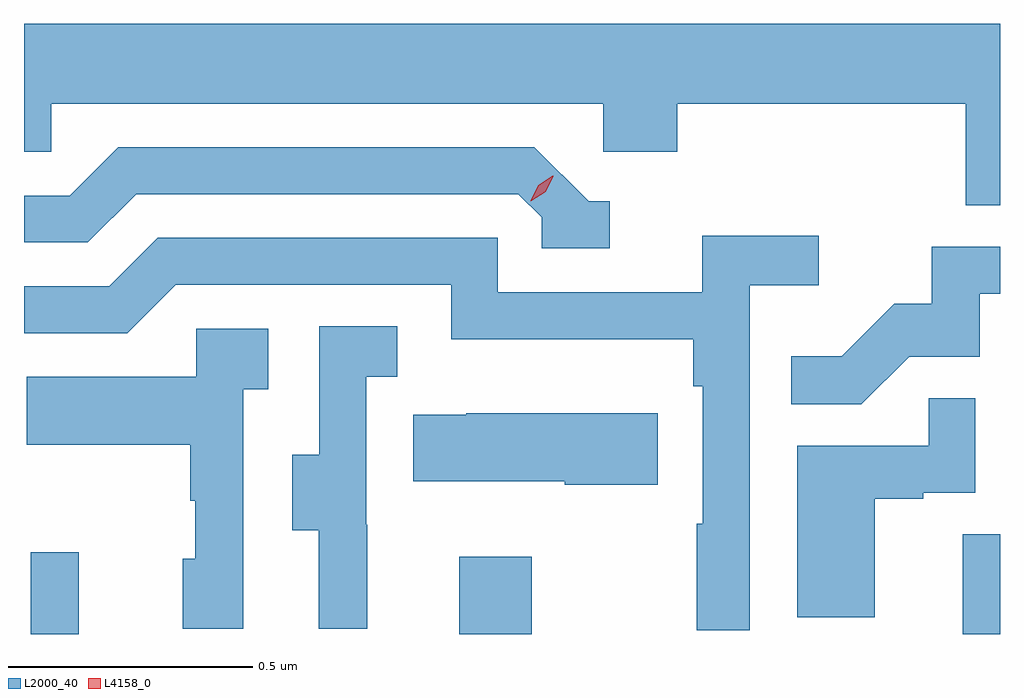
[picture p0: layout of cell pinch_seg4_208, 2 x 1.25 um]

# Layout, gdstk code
import gdstk
lib = gdstk.Library(unit=1e-6, precision=1e-09)
def R(c, l, rs):  # rectangles x0, y0, x1, y1
    for r in rs: c.add(gdstk.rectangle(r[:2], r[2:], *l))
def P(c, l, *ps):  # polygons
    for p in ps: c.add(gdstk.Polygon(p, *l))
L2000_40 = (2000, 40)
L4158_0 = (4158, 0)

pinch_seg4_208 = lib.new_cell('pinch_seg4_208')
R(pinch_seg4_208, L2000_40, [(984.729,822.373,984.827,822.541), (985.607,822.373,985.755,822.532), (986.639,822.373,986.715,822.578)])
P(pinch_seg4_208, L2000_40, [(986.715,823.624),(984.715,823.624),(984.715,823.362),(984.771,823.362),(984.771,823.46),(985.902,823.46),(985.902,823.362),(986.054,823.362),(986.054,823.46),(986.645,823.46),(986.645,823.252),(986.715,823.252)],
  [(985.915,823.26),(985.872,823.26),(985.761,823.371),(984.908,823.371),(984.809,823.272),(984.715,823.272),(984.715,823.176),(984.846,823.176),(984.945,823.275),(985.728,823.275),(985.776,823.227),(985.776,823.164),(985.915,823.164)],
  [(986.202,823.088),(986.344,823.088),(986.344,823.19),(986.105,823.19),(986.105,823.074),(985.686,823.074),(985.686,823.185),(984.989,823.185),(984.89,823.086),(984.715,823.086),(984.715,822.99),(984.927,822.99),(985.026,823.089),(985.59,823.089),(985.59,822.977),(986.086,822.977),(986.086,822.881),(986.106,822.881),(986.106,822.599),(986.094,822.599),(986.094,822.381),(986.202,822.381)],
  [(986.529,822.942),(986.673,822.942),(986.673,823.071),(986.715,823.071),(986.715,823.167),(986.575,823.167),(986.575,823.05),(986.498,823.05),(986.391,822.943),(986.287,822.943),(986.287,822.844),(986.431,822.844)],
  [(985.418,822.597),(985.416,822.597),(985.416,822.901),(985.48,822.901),(985.48,823.004),(985.32,823.004),(985.32,822.741),(985.265,822.741),(985.265,822.586),(985.319,822.586),(985.319,822.384),(985.418,822.384)],
  [(985.164,822.875),(985.216,822.875),(985.216,822.999),(985.068,822.999),(985.068,822.901),(984.721,822.901),(984.721,822.761),(985.056,822.761),(985.056,822.647),(985.066,822.647),(985.066,822.528),(985.04,822.528),(985.04,822.384),(985.164,822.384)],
  [(986.458,822.651),(986.558,822.651),(986.558,822.663),(986.664,822.663),(986.664,822.857),(986.569,822.857),(986.569,822.759),(986.3,822.759),(986.3,822.408),(986.458,822.408)],
  [(986.014,822.826),(985.621,822.826),(985.621,822.823),(985.513,822.823),(985.513,822.686),(985.823,822.686),(985.823,822.679),(986.014,822.679)])
P(pinch_seg4_208, L4158_0, [(985.753,823.26),(985.753,823.261),(985.769,823.293),(985.799,823.313),(985.8,823.313),(985.8,823.312),(985.784,823.28),(985.753,823.26)])

lib.write_gds('pinch_seg4_208.gds')
